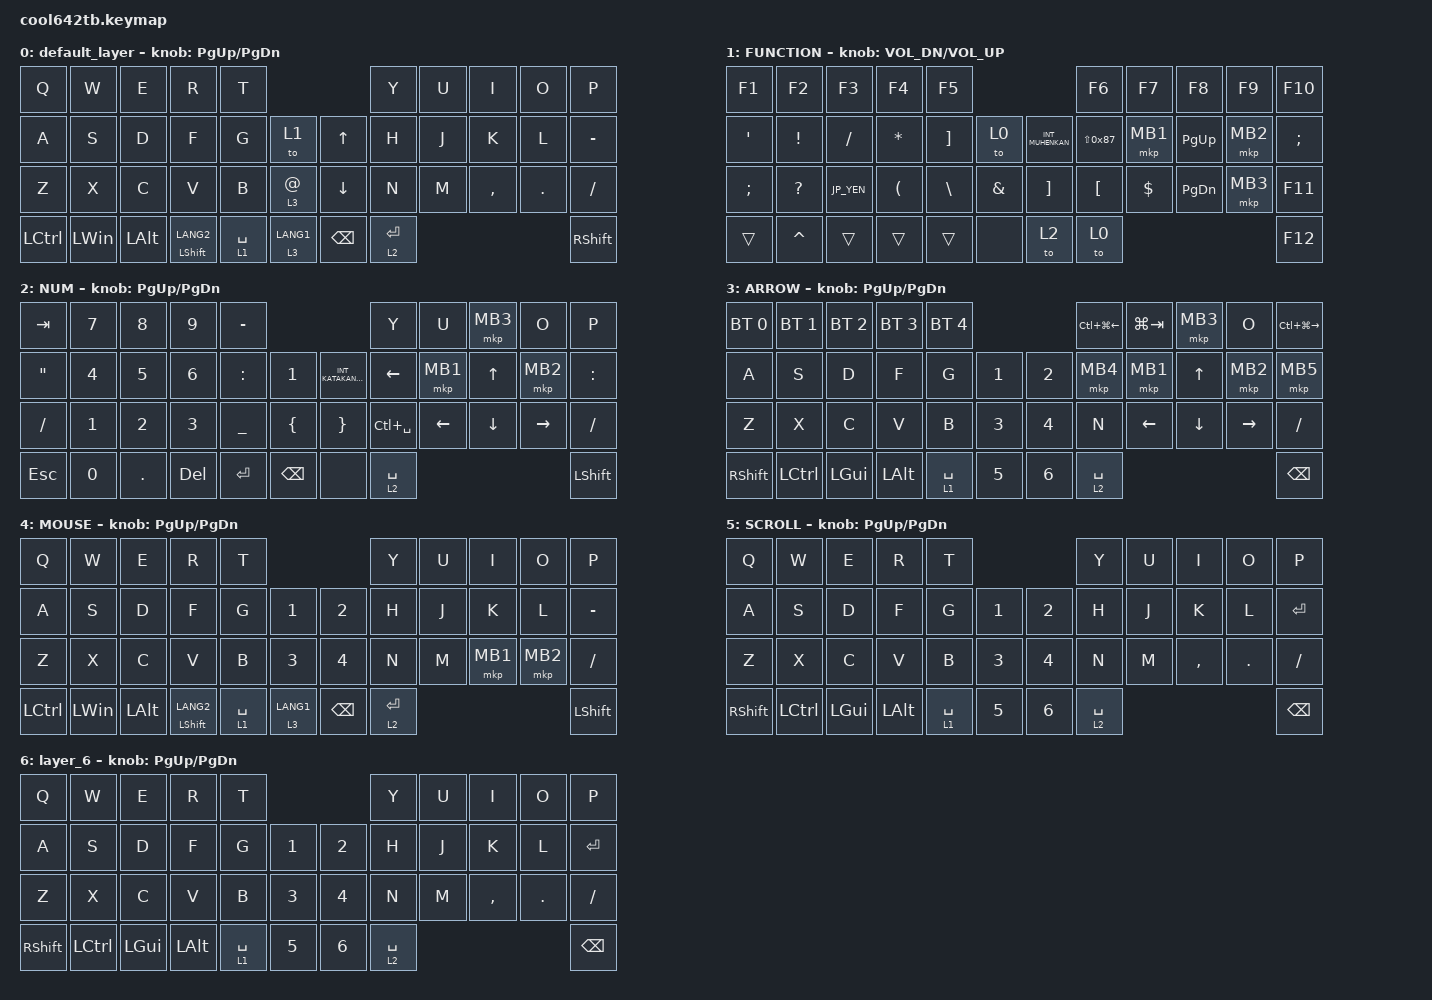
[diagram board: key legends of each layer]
#include <behaviors.dtsi>
#include <dt-bindings/zmk/bt.h>
#include <dt-bindings/zmk/keys.h>
#include <dt-bindings/zmk/pointing.h>

#define MOUSE 4
#define SCROLL 5
#define NUM 6

// OS設定を日本語キーボードのまま使用するための変換定義
#define JP_DQUOTE       AT                // "
#define JP_AMPERSAND    CARET             // &
#define JP_QUOTE        AMPERSAND         // '
#define JP_EQUAL        UNDER             // =
#define JP_CARET        EQUAL             // ^
#define JP_YEN          0x89              // ¥
#define JP_PLUS         COLON             // +
#define JP_TILDE        PLUS              // ~
#define JP_PIPE         LS(0x89)          // |
#define JP_AT           LEFT_BRACKET      // @
#define JP_COLON        SINGLE_QUOTE      // :
#define JP_ASTERISK     DOUBLE_QUOTES     // *
#define JP_BACKQUOTE    LEFT_BRACE        // `
#define JP_UNDERSCORE   LS(0x87)          // _
#define JP_LBRACKET     RIGHT_BRACKET     // [
#define JP_RBRACKET     BACKSLASH         // ]
#define JP_LPAREN       ASTERISK          // (
#define JP_RPAREN       LEFT_PARENTHESIS  // )
#define JP_LBRACE       RIGHT_BRACE       // {
#define JP_RBRACE       PIPE              // }
#define JP_KANA         LANGUAGE_1        // かな
#define JP_EISU         LANGUAGE_2        // 英数
#define JP_HANZEN       GRAVE             // 半角/全角

&mt {
    flavor = "balanced";
    quick-tap-ms = <0>;
};

/ {
    combos {
        compatible = "zmk,combos";

        comb1 {
            bindings = <&kp TAB>;
            key-positions = <11 10>;
        };

        comb2 {
            bindings = <&kp LS(ESCAPE)>;
            key-positions = <0 1>;
        };

        comb3 {
            bindings = <&kp CAPSLOCK>;
            key-positions = <22 23>;
        };

        comb4 {
            bindings = <&kp BACKSPACE>;
            key-positions = <9 8>;
        };

        comb5 {
            bindings = <&bt BT_CLR_ALL>;
            key-positions = <9 8>;
            timeout-ms = <0>;
            layers = <2>;
        };
    };

    macros {
        to_layer_0: to_layer_0 {
            compatible = "zmk,behavior-macro-one-param";
            #binding-cells = <1>;
            bindings = <&to 0 &macro_param_1to1 &kp MACRO_PLACEHOLDER>;
            label = "TO_LAYER_0";
        };
    };

    behaviors {
        lt_to_layer_0: lt_to_layer_0 {
            compatible = "zmk,behavior-hold-tap";
            label = "LAYER_TAP_TO_0";
            bindings = <&mo>, <&to_layer_0>;

            #binding-cells = <2>;
            tapping-term-ms = <200>;
        };
    };

    keymap {
        compatible = "zmk,keymap";

        default_layer {
            bindings = <
&kp Q      &kp W         &kp E         &kp R                 &kp T                                       &kp Y        &kp U  &kp I      &kp O       &kp P
&kp A      &kp S         &kp D         &kp F                 &kp G        &to 1           &kp UP         &kp H        &kp J  &kp K      &kp L       &kp MINUS
&kp Z      &kp X         &kp C         &kp V                 &kp B        &lt 3 JP_DQUOTE &kp DOWN       &kp N        &kp M  &kp COMMA  &kp PERIOD  &kp SLASH
&kp LCTRL  &kp LEFT_WIN  &kp LEFT_ALT  &mt LEFT_SHIFT LANG2  &lt 1 SPACE  &lt 3 LANG1     &kp BACKSPACE  &lt 2 ENTER                                &kp RIGHT_SHIFT
            >;

            sensor-bindings = <&inc_dec_kp PG_UP PAGE_DOWN>;
        };

        FUNCTION {
            bindings = <
&kp F1         &kp F2           &kp F3         &kp F4         &kp F5                                                  &kp F6             &kp F7      &kp F8         &kp F9    &kp F10
&kp JP_COLON   &kp EXCLAMATION  &kp SLASH      &kp JP_LPAREN  &kp JP_LBRACKET    &to 0             &kp INT_MUHENKAN   &kp JP_UNDERSCORE  &mkp MB1    &kp PG_UP      &mkp MB2  &kp SEMICOLON
&kp SEMICOLON  &kp QUESTION     &kp JP_YEN     &kp JP_RPAREN  &kp JP_RBRACKET    &kp JP_QUOTE      &kp RIGHT_BRACKET  &kp JP_AT          &kp DOLLAR  &kp PAGE_DOWN  &mkp MB3  &kp F11
&trans         &kp CARET        &trans         &trans         &trans             &none             &to 2              &to 0                                                   &kp F12
            >;

            sensor-bindings = <&inc_dec_kp C_VOL_DN C_VOL_UP>;
        };

        NUM {
            bindings = <
&kp TAB          &kp N7  &kp N8      &kp N9   &kp MINUS                                               &kp Y          &kp U           &mkp MB3        &kp O            &kp P
&kp JP_ASTERISK  &kp N4  &kp N5      &kp N6   &kp JP_PLUS   &kp N1          &kp INT_KATAKANAHIRAGANA  &kp LEFT       &mkp MB1        &kp UP_ARROW    &mkp MB2         &kp COLON
&kp SLASH        &kp N1  &kp N2      &kp N3   &kp JP_EQUAL  &kp JP_BACKQUOTE  &kp RIGHT_BRACE           &kp LC(SPACE)  &kp LEFT_ARROW  &kp DOWN_ARROW  &kp RIGHT_ARROW  &kp SLASH
&kp ESC          &kp N0  &kp PERIOD  &kp DEL  &kp ENTER     &kp BACKSPACE   &none                     &lt 2 SPACE                                                     &kp LEFT_SHIFT
            >;

            sensor-bindings = <&inc_dec_kp PG_UP PAGE_DOWN>;
        };

        ARROW {
            bindings = <
&bt BT_SEL 0  &bt BT_SEL 1  &bt BT_SEL 2  &bt BT_SEL 3  &bt BT_SEL 4                  &kp LC(LG(LEFT_ARROW))  &kp LG(TAB)     &mkp MB3        &kp O            &kp LC(LG(RIGHT_ARROW))
&kp A         &kp S         &kp D         &kp F         &kp G         &kp N1  &kp N2  &mkp MB4                &mkp MB1        &kp UP_ARROW    &mkp MB2         &mkp MB5
&kp Z         &kp X         &kp C         &kp V         &kp B         &kp N3  &kp N4  &kp N                   &kp LEFT_ARROW  &kp DOWN_ARROW  &kp RIGHT_ARROW  &kp SLASH
&kp RSHIFT    &kp LCTRL     &kp LGUI      &kp LALT      &lt 1 SPACE   &kp N5  &kp N6  &lt 2 SPACE                                                              &kp BSPC
            >;

            sensor-bindings = <&inc_dec_kp PG_UP PAGE_DOWN>;
        };

        MOUSE {
            bindings = <
&kp Q      &kp W         &kp E         &kp R                 &kp T                                    &kp Y        &kp U  &kp I     &kp O     &kp P
&kp A      &kp S         &kp D         &kp F                 &kp G        &kp N1       &kp N2         &kp H        &kp J  &kp K     &kp L     &kp MINUS
&kp Z      &kp X         &kp C         &kp V                 &kp B        &kp N3       &kp N4         &kp N        &kp M  &mkp MB1  &mkp MB2  &kp SLASH
&kp LCTRL  &kp LEFT_WIN  &kp LEFT_ALT  &mt LEFT_SHIFT LANG2  &lt 1 SPACE  &lt 3 LANG1  &kp BACKSPACE  &lt 2 ENTER                             &kp LEFT_SHIFT
            >;

            sensor-bindings = <&inc_dec_kp PG_UP PAGE_DOWN>;
        };

        SCROLL {
            bindings = <
&kp Q       &kp W      &kp E     &kp R     &kp T                        &kp Y        &kp U  &kp I      &kp O       &kp P
&kp A       &kp S      &kp D     &kp F     &kp G        &kp N1  &kp N2  &kp H        &kp J  &kp K      &kp L       &kp ENTER
&kp Z       &kp X      &kp C     &kp V     &kp B        &kp N3  &kp N4  &kp N        &kp M  &kp COMMA  &kp PERIOD  &kp SLASH
&kp RSHIFT  &kp LCTRL  &kp LGUI  &kp LALT  &lt 1 SPACE  &kp N5  &kp N6  &lt 2 SPACE                                &kp BSPC
            >;

            sensor-bindings = <&inc_dec_kp PG_UP PAGE_DOWN>;
        };

        layer_6 {
            bindings = <
&kp Q       &kp W      &kp E     &kp R     &kp T                        &kp Y        &kp U  &kp I      &kp O       &kp P
&kp A       &kp S      &kp D     &kp F     &kp G        &kp N1  &kp N2  &kp H        &kp J  &kp K      &kp L       &kp ENTER
&kp Z       &kp X      &kp C     &kp V     &kp B        &kp N3  &kp N4  &kp N        &kp M  &kp COMMA  &kp PERIOD  &kp SLASH
&kp RSHIFT  &kp LCTRL  &kp LGUI  &kp LALT  &lt 1 SPACE  &kp N5  &kp N6  &lt 2 SPACE                                &kp BSPC
            >;

            sensor-bindings = <&inc_dec_kp PG_UP PAGE_DOWN>;
        };
    };
};
